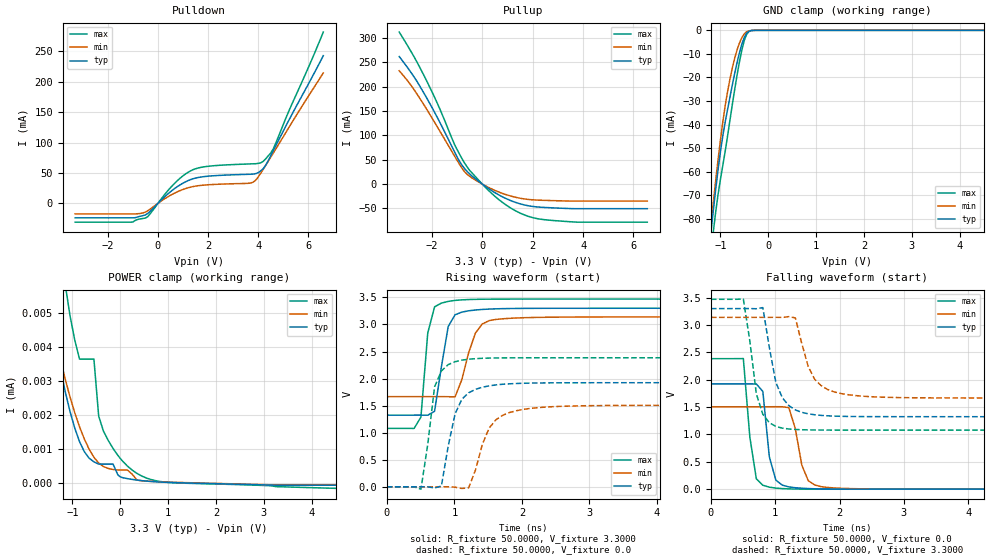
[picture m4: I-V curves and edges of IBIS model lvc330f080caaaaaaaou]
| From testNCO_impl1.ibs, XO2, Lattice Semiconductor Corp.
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[Model]   lvc330f080caaaaaaaou
Model_type   Output
Polarity   Non-Inverting
Enable   Active-Low
Vmeas =   1.500000V
Cref =   0.0F
Rref =   1.0000M
Vref =   0.0V
C_comp   4.2000pF   3.8000pF   7.5000pF
[Temperature Range]   25.0000   0.1250k   -40.0000
[Voltage Range]   3.3000V   3.1400V   3.4700V
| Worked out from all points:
|   slope of the pulldown table from 0 to 0.495 V, typ, clamps not added: 26 ohm
|   slope of the pullup table from 0 to 0.495 V, typ, clamps not added: 28.5 ohm
|   GND clamp passes 1 mA (typ) near -0.44 V on its own axis
|   rising waveform, R_fixture 50.0000, V_fixture 3.3000: 20-80 % time 154ps typ, 209ps min, 115ps max; typ from 1.32 V to 3.3 V
|   rising waveform, R_fixture 50.0000, V_fixture 0.0: 20-80 % time 223ps typ, 283ps min, 159ps max; typ from 0 V to 1.92 V
|   falling waveform, R_fixture 50.0000, V_fixture 0.0: 20-80 % time 129ps typ, 176ps min, 130ps max; typ from 1.92 V to 0 V
|   falling waveform, R_fixture 50.0000, V_fixture 3.3000: 20-80 % time 228ps typ, 280ps min, 188ps max; typ from 3.3 V to 1.32 V
[Pulldown]
|Voltage   I(typ)   I(min)   I(max)
-3.3V     -23.68mA   -17.2mA    -30.83mA
-1.1V     -23.68mA   -17.2mA    -30.83mA
-500mV    -18.89mA   -14.22mA   -24.07mA
-400mV    -16.44mA   -11.92mA   -21.58mA
600mV     22.43mA    15.62mA    30.22mA
1.3V      39.15mA    26.81mA    53.52mA
2V        44.82mA    30.69mA    61.1mA
3.7V      48.02mA    33.59mA    65.1mA
3.9V      48.94mA    38.13mA    65.35mA
4.2V      57.11mA    55.89mA    69.15mA
4.6V      86.19mA    82.47mA    89.45mA
6.6V      243.1mA    214.6mA    281.9mA
[Pullup]
|Voltage   I(typ)   I(min)   I(max)
-3.3V     261.7mA    232.5mA    311.9mA
-2.8V     226.7mA    200.5mA    269.2mA
-2.2V     176mA      152.8mA    210.6mA
-1.7V     128mA      109.8mA    155.7mA
-1.1V     65.82mA    57.34mA    80.93mA
-800mV    38.24mA    32.1mA     51.4mA
-300mV    12.05mA    9.076mA    16.77mA
800mV     -26.11mA   -19.07mA   -37.53mA
1.5V      -40.43mA   -28.94mA   -59.42mA
2.3V      -47.34mA   -33.02mA   -71.88mA
3.8V      -50.39mA   -34.76mA   -78.11mA
6.55V     -50.39mA   -34.76mA   -78.11mA
[GND_clamp]
|Voltage   I(typ)   I(min)   I(max)
-3.3V     -955.3mA   -930.3mA   -978mA
-1.2V     -86.18mA   -82.93mA   -94.91mA
-1.15V    -76.73mA   -73.29mA   -85.74mA
-1.1V     -67.71mA   -63.95mA   -77.28mA
-1V       -51.52mA   -46.57mA   -63.21mA
-900mV    -38.87mA   -31.88mA   -51.26mA
-800mV    -28.25mA   -20.58mA   -37.97mA
-700mV    -18.1mA    -11.63mA   -24.81mA
-600mV    -9.267mA   -5.265mA   -13.06mA
-450mV    -1.181mA   -586.6uA   -1.592mA
-250mV    -3.532uA   -4.055uA   -3.003uA
6.6V      0A         0A         0A
[POWER_clamp]
|Voltage   I(typ)   I(min)   I(max)
-3.25V    664.8uA    749.4uA    597.1uA
-1.55V    5.916uA    5.714uA    11.4uA
-1.45V    4.989uA    4.976uA    9.753uA
-1.15V    2.705uA    3.075uA    5.865uA
-850mV    1.228uA    1.663uA    3.656uA
-550mV    632.9nA    768.1nA    3.656uA
-450mV    565.1nA    597.1nA    1.977uA
-150mV    565.1nA    405.8nA    1.026uA
0V        190.5nA    392.6nA    734.7nA
450mV     79.23nA    72.94nA    213.9nA
950mV     30.32nA    38.42nA    33.55nA
6.6V      -57.56nA   -49.34nA   -232.5nA
[Ramp]
| variable   typ   min   max
dV/dt_r  1.1542/0.2206n   0.9035/0.2801n   1.4308/0.1578n
dV/dt_f  1.1855/0.2259n   0.8843/0.2771n   1.4345/0.1863n
R_load = 50.0000
[Rising Waveform]
R_fixture=   50.0000
V_fixture=   3.3000
V_fixture_min=   3.1400
V_fixture_max=   3.4700
|time   V(typ)   V(min)   V(max)
0s        1.324V     1.666V     1.079V
404ps     1.324V     1.666V     1.079V
505.1ps   1.324V     1.666V     1.289V
606.1ps   1.323V     1.666V     2.842V
707.1ps   1.395V     1.666V     3.326V
909.1ps   2.964V     1.665V     3.427V
1.01ns    3.179V     1.661V     3.445V
1.313ns   3.268V     2.844V     3.465V
1.616ns   3.289V     3.093V     3.469V
10ns      3.3V       3.14V      3.47V
[Rising Waveform]
R_fixture=   50.0000
V_fixture=   0.0
V_fixture_min=   0.0
V_fixture_max=   0.0
|time   V(typ)   V(min)   V(max)
0s        830nV      1.065uV    812.2nV
505.1ps   15.3uV     909.1nV    -44.25mV
707.1ps   -23.18mV   20.06uV    1.847V
808.1ps   14.4mV     57.31uV    2.142V
1.01ns    1.345V     -7.638mV   2.312V
1.111ns   1.619V     -31.67mV   2.341V
1.212ns   1.738V     -17.55mV   2.358V
1.616ns   1.883V     1.24V      2.381V
2.121ns   1.916V     1.448V     2.384V
10ns      1.924V     1.506V     2.385V
[Falling Waveform]
R_fixture=   50.0000
V_fixture=   0.0
V_fixture_min=   0.0
V_fixture_max=   0.0
|time   V(typ)   V(min)   V(max)
0s        1.924V     1.506V     2.385V
505.1ps   1.924V     1.506V     2.387V
606.1ps   1.924V     1.506V     952mV
707.1ps   1.923V     1.506V     188.5mV
808.1ps   1.786V     1.506V     71.9mV
909.1ps   590.5mV    1.506V     36.28mV
1.212ns   41.57mV    1.49V      5.293mV
1.414ns   17.1mV     439.3mV    1.518mV
1.717ns   4.623mV    45.24mV    316.1uV
10ns      -628.1nV   9.184uV    2.185uV
[Falling Waveform]
R_fixture=   50.0000
V_fixture=   3.3000
V_fixture_min=   3.1400
V_fixture_max=   3.4700
|time   V(typ)   V(min)   V(max)
0s        3.3V       3.14V      3.47V
505.1ps   3.3V       3.14V      3.474V
707.1ps   3.297V     3.14V      1.741V
808.1ps   3.318V     3.14V      1.368V
1.01ns    1.953V     3.141V     1.147V
1.111ns   1.67V      3.138V     1.115V
1.313ns   1.448V     3.13V      1.091V
1.616ns   1.359V     2.004V     1.081V
2.121ns   1.329V     1.728V     1.079V
10ns      1.324V     1.666V     1.079V
